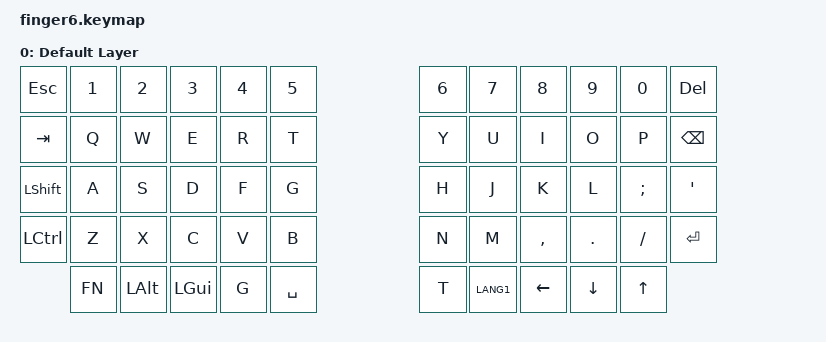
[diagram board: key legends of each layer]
/*
 * Copyright (c) 2020 The ZMK Contributors
 *
 * SPDX-License-Identifier: MIT
 */

 #include <behaviors.dtsi>
 #include <dt-bindings/zmk/keys.h>
 #include <dt-bindings/zmk/bt.h>
 #include <dt-bindings/zmk/outputs.h>

 #define DEFAULT 0
 #define LOWER  1
 #define RAISE  2
 #define ADJUST 3

/* NOTE: At the time of the creation of this keymap, there are no specified codes for 'eisuu' and 'kana' input in ZMK.
However, 'LANG1' and 'LANG2' are fully-functioning candidates for 'kana' and 'eisuu' input respectively.
As such, those are in use within the default layer at this time.*/

/ {
       keymap {
              compatible = "zmk,keymap";

              default_layer {
                     display-name = "Default Layer";
 // ---------------------------------------------------------------------------------------------------------------------------------
 // | GRAVE  |   1    |   2    |   3    |   4    |   5    |                                      |   6    |   7    |   8    |   9    |   0    |  DEL   |
 // |  TAB   |   Q    |   W    |   E    |   R    |   T    |                                      |   Y    |   U    |   I    |   O    |   P    |  BSPC  |
 // |  CTRL  |   A    |   S    |   D    |   F    |   G    |                                      |   H    |   J    |   K    |   L    |   ;    |   '    |
 // |  SHIFT |   Z    |   X    |   C    |   V    |   B    |  LBKT  |                    |  RBKT  |   N    |   M    |   ,    |   .    |   /    |  RET   |
 // |        |  ESC   |  ALT   |  LGUI  | EISUU  | LOWER  | SPACE  |                    |  SPACE | RAISE  |  KANA  |  LEFT  |  DOWN  |  UP    |  RIGHT |
                     bindings = <
       &kp ESC    &kp N1  &kp N2   &kp N3   &kp N4    &kp N5                               &kp N6    &kp N7    &kp N8    &kp N9     &kp N0    &kp DEL
       &kp TAB    &kp Q   &kp W    &kp E    &kp R     &kp T                                &kp Y     &kp U     &kp I     &kp O      &kp P     &kp BSPC
       &kp LSHIFT &kp A   &kp S    &kp D    &kp F     &kp G                                &kp H     &kp J     &kp K     &kp L      &kp SEMI  &kp SQT
       &kp LCTRL  &kp Z   &kp X    &kp C    &kp V     &kp B                                &kp N     &kp M     &kp COMMA &kp PERIOD &kp SLASH &kp RET
                  &kp FN  &kp LALT &kp LGUI &kp G     &kp SPACE                            &kp T     &kp LANG1 &kp LEFT  &kp DOWN   &kp UP    
                     >;
              };
              
       };
};
